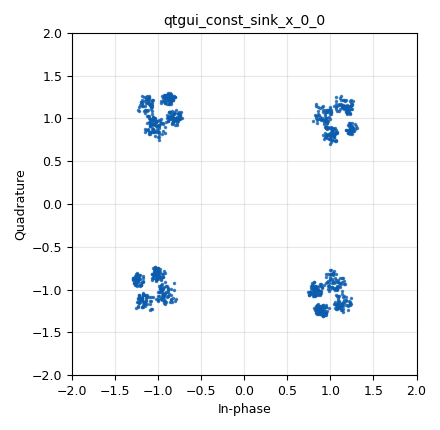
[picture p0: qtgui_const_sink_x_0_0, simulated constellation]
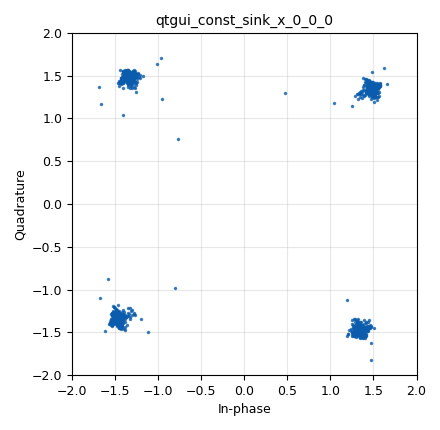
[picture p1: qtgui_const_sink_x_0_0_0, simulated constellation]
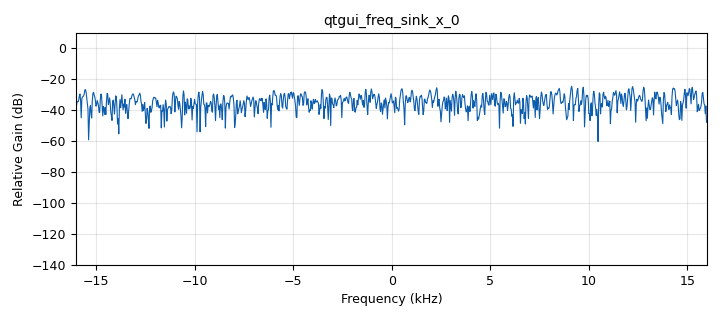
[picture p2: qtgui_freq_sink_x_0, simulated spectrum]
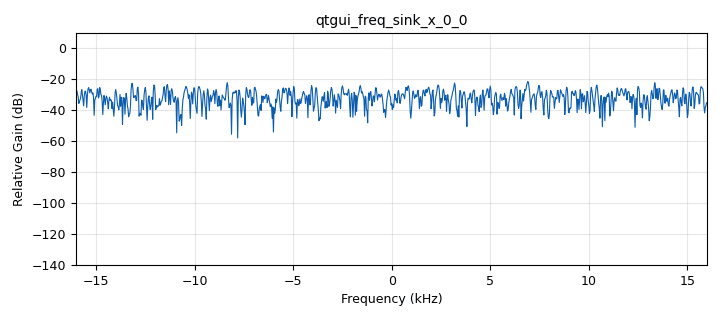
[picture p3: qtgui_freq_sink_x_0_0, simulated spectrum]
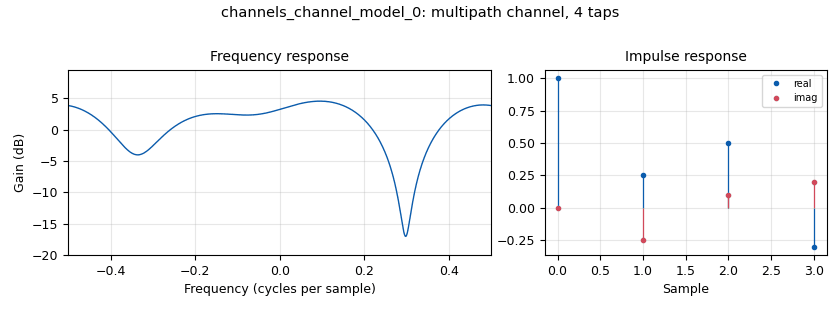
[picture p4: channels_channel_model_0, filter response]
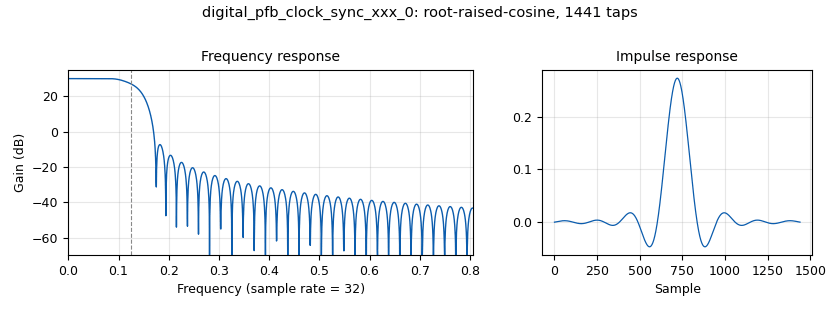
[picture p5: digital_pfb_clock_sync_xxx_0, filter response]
options:
  parameters:
    author: engineerang
    generate_options: qt_gui
    id: mpsk_stage4
    output_language: python
    title: Not titled yet
  states: {}

blocks:
- name: arity
  id: variable
  parameters:
    value: '4'
  states: {}
- name: excess_bw
  id: variable
  parameters:
    value: '00.35'
  states: {}
- name: freq_offset
  id: variable_qtgui_range
  parameters:
    label: 'Channel: Frequency Offset'
    start: '-0.1'
    step: '0.001'
    stop: '0.1'
    value: '0'
  states: {}
- name: nfilts
  id: variable
  parameters:
    value: '32'
  states: {}
- name: noise_volt
  id: variable_qtgui_range
  parameters:
    label: 'Channel: Noise Voltage'
    start: '0'
    step: '0.01'
    stop: '1'
    value: '0.0001'
  states: {}
- name: rrc_taps
  id: variable
  parameters:
    value: firdes.root_raised_cosine(nfilts, nfilts, 1.0/float(sps), 0.35, 45*nfilts)
  states: {}
- name: samp_rate
  id: variable
  parameters:
    value: '32000'
  states: {}
- name: sps
  id: variable
  parameters:
    value: '4'
  states: {}
- name: taps
  id: variable
  parameters:
    value: '[1.0, 0.25-0.25j, 0.50 + 0.10j, -0.3 + 0.2j]'
  states: {}
- name: time_offset
  id: variable_qtgui_range
  parameters:
    label: 'Channel: Timing Offset '
    start: '0.999'
    step: '0.0001'
    stop: '1.001'
    value: '1.000'
  states: {}
- name: timing_loop_bw
  id: variable_qtgui_range
  parameters:
    label: 'Time: BW'
    start: '0'
    step: '0.01'
    stop: '0.2'
    value: '0.0628'
  states: {}
- name: variable_adaptive_algorithm_0
  id: variable_adaptive_algorithm
  parameters:
    cons: variable_constellation_rect_0
    modulus: '4'
    step_size: '0.0001'
    type: cma
  states: {}
- name: variable_constellation_rect_0
  id: variable_constellation_rect
  parameters:
    const_points: '[-0.707-0.707j, -0.707+0.707j, 0.707+0.707j, 0.707-0.707j]'
    imag_sect: '2'
    real_sect: '2'
    rot_sym: '4'
    sym_map: '[0, 1, 3, 2]'
    w_imag_sect: '1'
    w_real_sect: '1'
  states: {}
- name: analog_random_source_x_0
  id: analog_random_source_x
  parameters:
    max: '256'
    min: '0'
    num_samps: '10000'
    repeat: 'True'
    type: byte
  states: {}
- name: blocks_throttle_0
  id: blocks_throttle
  parameters:
    samples_per_second: samp_rate
    type: complex
  states: {}
- name: channels_channel_model_0
  id: channels_channel_model
  parameters:
    epsilon: time_offset
    freq_offset: freq_offset
    noise_voltage: noise_volt
    seed: '0'
    taps: taps
  states: {}
- name: digital_constellation_modulator_0
  id: digital_constellation_modulator
  parameters:
    constellation: variable_constellation_rect_0
    differential: 'True'
    excess_bw: excess_bw
    samples_per_symbol: '4'
  states: {}
- name: digital_linear_equalizer_0
  id: digital_linear_equalizer
  parameters:
    alg: variable_adaptive_algorithm_0
    num_taps: '15'
    sps: '2'
  states: {}
- name: digital_pfb_clock_sync_xxx_0
  id: digital_pfb_clock_sync_xxx
  parameters:
    filter_size: nfilts
    init_phase: '16'
    loop_bw: timing_loop_bw
    max_dev: '1.5'
    osps: '1'
    sps: '4.004'
    taps: rrc_taps
    type: ccf
  states: {}
- name: qtgui_const_sink_x_0_0
  id: qtgui_const_sink_x
  parameters:
    gui_hint: 0,0,1,1
    size: '1024'
    type: complex
  states: {}
- name: qtgui_const_sink_x_0_0_0
  id: qtgui_const_sink_x
  parameters:
    gui_hint: 0,1,1,1
    size: '1024'
    type: complex
  states: {}
- name: qtgui_freq_sink_x_0
  id: qtgui_freq_sink_x
  parameters:
    bw: samp_rate
    fc: '0'
    fftsize: '1024'
    gui_hint: 1,0,1,1
    type: complex
  states: {}
- name: qtgui_freq_sink_x_0_0
  id: qtgui_freq_sink_x
  parameters:
    bw: samp_rate
    fc: '0'
    fftsize: '1024'
    gui_hint: 1,1,1,1
    type: complex
  states: {}

connections:
- [analog_random_source_x_0, '0', digital_constellation_modulator_0, '0']
- [blocks_throttle_0, '0', channels_channel_model_0, '0']
- [channels_channel_model_0, '0', digital_pfb_clock_sync_xxx_0, '0']
- [digital_constellation_modulator_0, '0', blocks_throttle_0, '0']
- [digital_linear_equalizer_0, '0', qtgui_const_sink_x_0_0_0, '0']
- [digital_linear_equalizer_0, '0', qtgui_freq_sink_x_0_0, '0']
- [digital_pfb_clock_sync_xxx_0, '0', digital_linear_equalizer_0, '0']
- [digital_pfb_clock_sync_xxx_0, '0', qtgui_const_sink_x_0_0, '0']
- [digital_pfb_clock_sync_xxx_0, '0', qtgui_freq_sink_x_0, '0']

metadata:
  file_format: 1
